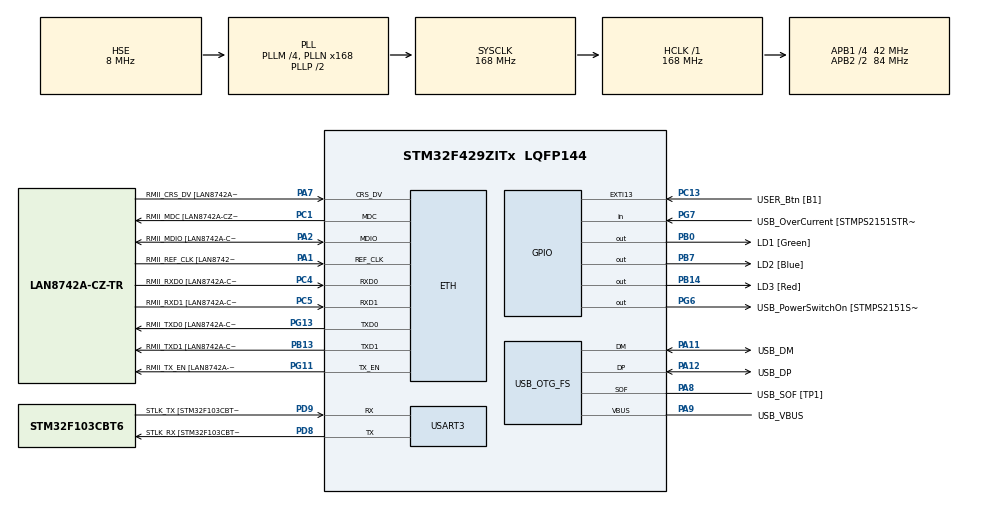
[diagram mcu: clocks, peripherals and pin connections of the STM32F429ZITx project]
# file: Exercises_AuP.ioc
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ETH.MediaInterface=HAL_ETH_RMII_MODE
ETH.PHY_Name=LAN8742A_PHY_ADDRESS
ETH.PHY_Value=0
ETH.PhyAddress=0
Mcu.Family=STM32F4
Mcu.Name=STM32F429ZITx
Mcu.Package=LQFP144
NVIC.PriorityGroup=NVIC_PRIORITYGROUP_4
PA1.GPIO_Label=RMII_REF_CLK [LAN8742A-CZ-TR_REFCLK0]
PA1.Mode=RMII
PA1.Signal=ETH_REF_CLK
PA10.GPIO_Label=USB_ID
PA10.Signal=USB_OTG_FS_ID
PA11.GPIO_Label=USB_DM
PA11.Mode=Device_Only
PA11.Signal=USB_OTG_FS_DM
PA12.GPIO_Label=USB_DP
PA12.Mode=Device_Only
PA12.Signal=USB_OTG_FS_DP
PA13.GPIO_Label=TMS
PA13.Mode=Serial_Wire
PA13.Signal=SYS_JTMS-SWDIO
PA14.GPIO_Label=TCK
PA14.Mode=Serial_Wire
PA14.Signal=SYS_JTCK-SWCLK
PA2.GPIO_Label=RMII_MDIO [LAN8742A-CZ-TR_MDIO]
PA2.Mode=RMII
PA2.Signal=ETH_MDIO
PA7.GPIO_Label=RMII_CRS_DV [LAN8742A-CZ-TR_CRS_DV]
PA7.Mode=RMII
PA7.Signal=ETH_CRS_DV
PA8.GPIO_Label=USB_SOF [TP1]
PA8.Mode=Activate_SOF_FS
PA8.Signal=USB_OTG_FS_SOF
PA9.GPIO_Label=USB_VBUS
PA9.Mode=Activate_VBUS
PA9.Signal=USB_OTG_FS_VBUS
PB0.GPIO_Label=LD1 [Green]
PB0.Signal=GPIO_Output
PB13.GPIO_Label=RMII_TXD1 [LAN8742A-CZ-TR_TXD1]
PB13.Mode=RMII
PB13.Signal=ETH_TXD1
PB14.GPIO_Label=LD3 [Red]
PB14.Signal=GPIO_Output
PB7.GPIO_Label=LD2 [Blue]
PB7.Signal=GPIO_Output
PC1.GPIO_Label=RMII_MDC [LAN8742A-CZ-TR_MDC]
PC1.Mode=RMII
PC1.Signal=ETH_MDC
PC13.GPIO_Label=USER_Btn [B1]
PC13.Signal=GPXTI13
PC14/OSC32_IN.Mode=LSE-External-Oscillator
PC14/OSC32_IN.Signal=RCC_OSC32_IN
PC15/OSC32_OUT.Mode=LSE-External-Oscillator
PC15/OSC32_OUT.Signal=RCC_OSC32_OUT
PC4.GPIO_Label=RMII_RXD0 [LAN8742A-CZ-TR_RXD0]
PC4.Mode=RMII
PC4.Signal=ETH_RXD0
PC5.GPIO_Label=RMII_RXD1 [LAN8742A-CZ-TR_RXD1]
PC5.Mode=RMII
PC5.Signal=ETH_RXD1
PD8.GPIO_Label=STLK_RX [STM32F103CBT6_PA3]
PD8.Mode=Asynchronous
PD8.Signal=USART3_TX
PD9.GPIO_Label=STLK_TX [STM32F103CBT6_PA2]
PD9.Mode=Asynchronous
PD9.Signal=USART3_RX
PG11.GPIO_Label=RMII_TX_EN [LAN8742A-CZ-TR_TXEN]
PG11.Mode=RMII
PG11.Signal=ETH_TX_EN
PG13.GPIO_Label=RMII_TXD0 [LAN8742A-CZ-TR_TXD0]
PG13.Mode=RMII
PG13.Signal=ETH_TXD0
PG6.GPIO_Label=USB_PowerSwitchOn [STMPS2151STR_EN]
PG6.Signal=GPIO_Output
PG7.GPIO_Label=USB_OverCurrent [STMPS2151STR_FAULT]
PG7.Signal=GPIO_Input
PH0/OSC_IN.GPIO_Label=MCO [STM32F103CBT6_PA8]
PH0/OSC_IN.Mode=HSE-External-Clock-Source
PH0/OSC_IN.Signal=RCC_OSC_IN
PH1/OSC_OUT.Mode=HSE-External-Clock-Source
PH1/OSC_OUT.Signal=RCC_OSC_OUT
ProjectManager.HeapSize=0x200
ProjectManager.StackSize=0x400
ProjectManager.TargetToolchain=STM32CubeIDE
RCC.48MHZClocksFreq_Value=48000000
RCC.AHBFreq_Value=168000000
RCC.APB1CLKDivider=RCC_HCLK_DIV4
RCC.APB1Freq_Value=42000000
RCC.APB1TimFreq_Value=84000000
RCC.APB2CLKDivider=RCC_HCLK_DIV2
RCC.APB2Freq_Value=84000000
RCC.APB2TimCLKDivider=2
RCC.APB2TimFreq_Value=168000000
RCC.CortexFreq_Value=168000000
RCC.HCLKFreq_Value=168000000
RCC.HSE_VALUE=8000000
RCC.HSI_VALUE=16000000
RCC.PLLM=4
RCC.PLLMUL=RCC_PLL_MUL9
RCC.PLLN=168
RCC.PLLQ=7
RCC.PRESCALERUSB=RCC_USBCLKSOURCE_PLL_DIV1_5
RCC.SYSCLKFreq_VALUE=168000000
RCC.SYSCLKSource=RCC_SYSCLKSOURCE_PLLCLK
RCC.SYSCLKSourceVirtual=RCC_SYSCLKSOURCE_PLLCLK
RCC.USBFreq_Value=48000000
RCC.VCOOutputFreq_Value=336000000
USART3.VirtualMode=VM_ASYNC
USB_OTG_FS.VirtualMode=Device_Only
board=NUCLEO-F429ZI

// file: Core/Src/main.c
/* USER CODE BEGIN Header */
/**
  ******************************************************************************
  * @file           : main.c
  * @brief          : Main program body
  ******************************************************************************
  * @attention
  *
  * Copyright (c) 2022 STMicroelectronics.
  * All rights reserved.
  *
  * This software is licensed under terms that can be found in the LICENSE file
  * in the root directory of this software component.
  * If no LICENSE file comes with this software, it is provided AS-IS.
  *
  ******************************************************************************
  */
/* USER CODE END Header */
#include "main.h"
#include "string.h"
#include "stddef.h"

ETH_TxPacketConfig TxConfig;
ETH_DMADescTypeDef  DMARxDscrTab[ETH_RX_DESC_CNT]; /* Ethernet Rx DMA Descriptors */
ETH_DMADescTypeDef  DMATxDscrTab[ETH_TX_DESC_CNT]; /* Ethernet Tx DMA Descriptors */

ETH_HandleTypeDef heth;

UART_HandleTypeDef huart3;

PCD_HandleTypeDef hpcd_USB_OTG_FS;

void SystemClock_Config(void);
static void MX_GPIO_Init(void);
static void MX_ETH_Init(void);
static void MX_USART3_UART_Init(void);
static void MX_USB_OTG_FS_PCD_Init(void);
static void zeros (uint32_t * vector, uint32_t longitud);
static void productoEscalar32 (uint32_t * vectorIn, uint32_t * vectorOut, uint32_t longitud, uint32_t escalar);
/* USER CODE BEGIN PFP */

/*
 * @brief	Initializes a vector with zero values
 * @param	Pointer to vector of type uint32_t
 * @param	Vector length
 * @retval	None
 * */
void zeros (uint32_t *vector, uint32_t lenVector)
{
	uint32_t i;

	if(NULL != vector && lenVector > 0)	/** check parameters*/
		for(i=0;i<lenVector;i++)
			*vector++ = 0;
	else
		Error_Handler();
}

/*
 * @brief	Implements the product of a vector and a scalar
 * @param	Pointer to input vector of type uint32_t
 * @param	Pointer to output vector of type uint32_t
 * @param	Vector length
 * @param	Scalar value
 * @retval	None
 * */
static void productoEscalar32 (uint32_t *inVector, uint32_t *outVector, uint32_t lenVector, uint32_t scalar)
{
	uint32_t i;

	if(NULL != inVector && outVector != NULL && lenVector > 0)/** check parameters*/
	{
		if(scalar != 0)
			for(i=0;i<lenVector;i++)
				*outVector++ = *inVector++ * scalar;
		else
			for(i=0;i<lenVector;i++)
				*outVector++ = 0;

	}
	else
		Error_Handler();
}
/* USER CODE END PFP */

int main(void)
{

  /* MCU Configuration--------------------------------------------------------*/

  /* Reset of all peripherals, Initializes the Flash interface and the Systick. */
  HAL_Init();

  /* Configure the system clock */
  SystemClock_Config();

  /* Initialize all configured peripherals */
  MX_GPIO_Init();
  MX_ETH_Init();
  MX_USART3_UART_Init();
  MX_USB_OTG_FS_PCD_Init();

  /* Infinite loop */
  while (1)
  {

  }
}

void SystemClock_Config(void)
{
  RCC_OscInitTypeDef RCC_OscInitStruct = {0};
  RCC_ClkInitTypeDef RCC_ClkInitStruct = {0};

  /** Configure the main internal regulator output voltage
  */
  __HAL_RCC_PWR_CLK_ENABLE();
  __HAL_PWR_VOLTAGESCALING_CONFIG(PWR_REGULATOR_VOLTAGE_SCALE1);

  /** Initializes the RCC Oscillators according to the specified parameters
  * in the RCC_OscInitTypeDef structure.
  */
  RCC_OscInitStruct.OscillatorType = RCC_OSCILLATORTYPE_HSE;
  RCC_OscInitStruct.HSEState = RCC_HSE_BYPASS;
  RCC_OscInitStruct.PLL.PLLState = RCC_PLL_ON;
  RCC_OscInitStruct.PLL.PLLSource = RCC_PLLSOURCE_HSE;
  RCC_OscInitStruct.PLL.PLLM = 4;
  RCC_OscInitStruct.PLL.PLLN = 168;
  RCC_OscInitStruct.PLL.PLLP = RCC_PLLP_DIV2;
  RCC_OscInitStruct.PLL.PLLQ = 7;
  if (HAL_RCC_OscConfig(&RCC_OscInitStruct) != HAL_OK)
  {
    Error_Handler();
  }

  /** Initializes the CPU, AHB and APB buses clocks
  */
  RCC_ClkInitStruct.ClockType = RCC_CLOCKTYPE_HCLK|RCC_CLOCKTYPE_SYSCLK
                              |RCC_CLOCKTYPE_PCLK1|RCC_CLOCKTYPE_PCLK2;
  RCC_ClkInitStruct.SYSCLKSource = RCC_SYSCLKSOURCE_PLLCLK;
  RCC_ClkInitStruct.AHBCLKDivider = RCC_SYSCLK_DIV1;
  RCC_ClkInitStruct.APB1CLKDivider = RCC_HCLK_DIV4;
  RCC_ClkInitStruct.APB2CLKDivider = RCC_HCLK_DIV2;

  if (HAL_RCC_ClockConfig(&RCC_ClkInitStruct, FLASH_LATENCY_5) != HAL_OK)
  {
    Error_Handler();
  }
}

static void MX_ETH_Init(void)
{

   static uint8_t MACAddr[6];

  heth.Instance = ETH;
  MACAddr[0] = 0x00;
  MACAddr[1] = 0x80;
  MACAddr[2] = 0xE1;
  MACAddr[3] = 0x00;
  MACAddr[4] = 0x00;
  MACAddr[5] = 0x00;
  heth.Init.MACAddr = &MACAddr[0];
  heth.Init.MediaInterface = HAL_ETH_RMII_MODE;
  heth.Init.TxDesc = DMATxDscrTab;
  heth.Init.RxDesc = DMARxDscrTab;
  heth.Init.RxBuffLen = 1524;

  if (HAL_ETH_Init(&heth) != HAL_OK)
  {
    Error_Handler();
  }

  memset(&TxConfig, 0 , sizeof(ETH_TxPacketConfig));
  TxConfig.Attributes = ETH_TX_PACKETS_FEATURES_CSUM | ETH_TX_PACKETS_FEATURES_CRCPAD;
  TxConfig.ChecksumCtrl = ETH_CHECKSUM_IPHDR_PAYLOAD_INSERT_PHDR_CALC;
  TxConfig.CRCPadCtrl = ETH_CRC_PAD_INSERT;

}

static void MX_USART3_UART_Init(void)
{

  huart3.Instance = USART3;
  huart3.Init.BaudRate = 115200;
  huart3.Init.WordLength = UART_WORDLENGTH_8B;
  huart3.Init.StopBits = UART_STOPBITS_1;
  huart3.Init.Parity = UART_PARITY_NONE;
  huart3.Init.Mode = UART_MODE_TX_RX;
  huart3.Init.HwFlowCtl = UART_HWCONTROL_NONE;
  huart3.Init.OverSampling = UART_OVERSAMPLING_16;
  if (HAL_UART_Init(&huart3) != HAL_OK)
  {
    Error_Handler();
  }

}

static void MX_USB_OTG_FS_PCD_Init(void)
{

  hpcd_USB_OTG_FS.Instance = USB_OTG_FS;
  hpcd_USB_OTG_FS.Init.dev_endpoints = 4;
  hpcd_USB_OTG_FS.Init.speed = PCD_SPEED_FULL;
  hpcd_USB_OTG_FS.Init.dma_enable = DISABLE;
  hpcd_USB_OTG_FS.Init.phy_itface = PCD_PHY_EMBEDDED;
  hpcd_USB_OTG_FS.Init.Sof_enable = ENABLE;
  hpcd_USB_OTG_FS.Init.low_power_enable = DISABLE;
  hpcd_USB_OTG_FS.Init.lpm_enable = DISABLE;
  hpcd_USB_OTG_FS.Init.vbus_sensing_enable = ENABLE;
  hpcd_USB_OTG_FS.Init.use_dedicated_ep1 = DISABLE;
  if (HAL_PCD_Init(&hpcd_USB_OTG_FS) != HAL_OK)
  {
    Error_Handler();
  }

}

static void MX_GPIO_Init(void)
{
  GPIO_InitTypeDef GPIO_InitStruct = {0};

  /* GPIO Ports Clock Enable */
  __HAL_RCC_GPIOC_CLK_ENABLE();
  __HAL_RCC_GPIOH_CLK_ENABLE();
  __HAL_RCC_GPIOA_CLK_ENABLE();
  __HAL_RCC_GPIOB_CLK_ENABLE();
  __HAL_RCC_GPIOD_CLK_ENABLE();
  __HAL_RCC_GPIOG_CLK_ENABLE();

  /*Configure GPIO pin Output Level */
  HAL_GPIO_WritePin(GPIOB, LD1_Pin|LD3_Pin|LD2_Pin, GPIO_PIN_RESET);

  /*Configure GPIO pin Output Level */
  HAL_GPIO_WritePin(USB_PowerSwitchOn_GPIO_Port, USB_PowerSwitchOn_Pin, GPIO_PIN_RESET);

  /*Configure GPIO pin : USER_Btn_Pin */
  GPIO_InitStruct.Pin = USER_Btn_Pin;
  GPIO_InitStruct.Mode = GPIO_MODE_IT_RISING;
  GPIO_InitStruct.Pull = GPIO_NOPULL;
  HAL_GPIO_Init(USER_Btn_GPIO_Port, &GPIO_InitStruct);

  /*Configure GPIO pins : LD1_Pin LD3_Pin LD2_Pin */
  GPIO_InitStruct.Pin = LD1_Pin|LD3_Pin|LD2_Pin;
  GPIO_InitStruct.Mode = GPIO_MODE_OUTPUT_PP;
  GPIO_InitStruct.Pull = GPIO_NOPULL;
  GPIO_InitStruct.Speed = GPIO_SPEED_FREQ_LOW;
  HAL_GPIO_Init(GPIOB, &GPIO_InitStruct);

  /*Configure GPIO pin : USB_PowerSwitchOn_Pin */
  GPIO_InitStruct.Pin = USB_PowerSwitchOn_Pin;
  GPIO_InitStruct.Mode = GPIO_MODE_OUTPUT_PP;
  GPIO_InitStruct.Pull = GPIO_NOPULL;
  GPIO_InitStruct.Speed = GPIO_SPEED_FREQ_LOW;
  HAL_GPIO_Init(USB_PowerSwitchOn_GPIO_Port, &GPIO_InitStruct);

  /*Configure GPIO pin : USB_OverCurrent_Pin */
  GPIO_InitStruct.Pin = USB_OverCurrent_Pin;
  GPIO_InitStruct.Mode = GPIO_MODE_INPUT;
  GPIO_InitStruct.Pull = GPIO_NOPULL;
  HAL_GPIO_Init(USB_OverCurrent_GPIO_Port, &GPIO_InitStruct);

}

void Error_Handler(void)
{
  __disable_irq();
  while (1)
  {
  }
}
